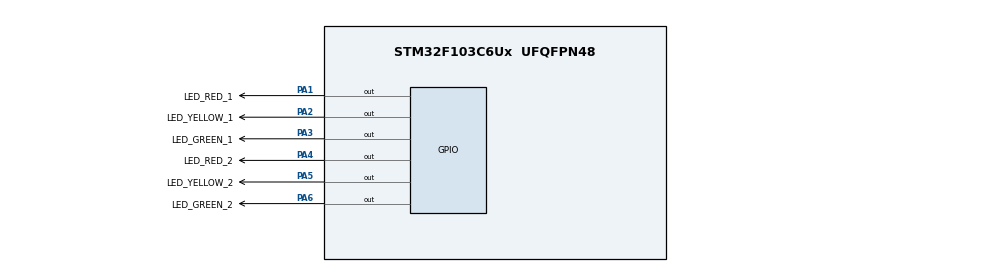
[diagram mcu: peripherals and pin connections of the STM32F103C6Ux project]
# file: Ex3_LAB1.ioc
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Mcu.Family=STM32F1
Mcu.Name=STM32F103C6Ux
Mcu.Package=UFQFPN48
NVIC.PriorityGroup=NVIC_PRIORITYGROUP_4
PA1.GPIO_Label=LED_RED_1
PA1.Signal=GPIO_Output
PA2.GPIO_Label=LED_YELLOW_1
PA2.Signal=GPIO_Output
PA3.GPIO_Label=LED_GREEN_1
PA3.Signal=GPIO_Output
PA4.GPIO_Label=LED_RED_2
PA4.Signal=GPIO_Output
PA5.GPIO_Label=LED_YELLOW_2
PA5.Signal=GPIO_Output
PA6.GPIO_Label=LED_GREEN_2
PA6.Signal=GPIO_Output
ProjectManager.HeapSize=0x200
ProjectManager.StackSize=0x400
ProjectManager.TargetToolchain=STM32CubeIDE
RCC.APB1Freq_Value=8000000
RCC.APB2Freq_Value=8000000
VP_SYS_VS_ND.Mode=No_Debug
board=custom

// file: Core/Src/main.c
/* USER CODE BEGIN Header */
/**
  ******************************************************************************
  * @file           : main.c
  * @brief          : Main program body
  ******************************************************************************
  * @attention
  *
  * <h2><center>&copy; Copyright (c) 2022 STMicroelectronics.
  * All rights reserved.</center></h2>
  *
  * This software component is licensed by ST under BSD 3-Clause license,
  * the "License"; You may not use this file except in compliance with the
  * License. You may obtain a copy of the License at:
  *                        opensource.org/licenses/BSD-3-Clause
  *
  ******************************************************************************
  */
/* USER CODE END Header */
#include "main.h"

/* USER CODE BEGIN PD */
#define setCounterRed 5
#define setCounterGreen 3
#define setCounterYellow 2
#define threshold 0
/* USER CODE END PD */

void SystemClock_Config(void);
static void MX_GPIO_Init(void);

/* USER CODE BEGIN 0 */
void enableRed1 (void){
	HAL_GPIO_WritePin(LED_RED_1_GPIO_Port, LED_RED_1_Pin, GPIO_PIN_RESET);
	HAL_GPIO_WritePin(LED_YELLOW_1_GPIO_Port, LED_YELLOW_1_Pin, GPIO_PIN_SET);
	HAL_GPIO_WritePin(LED_GREEN_1_GPIO_Port, LED_GREEN_1_Pin, GPIO_PIN_SET);
}

void enableYellow1 (void){
	HAL_GPIO_WritePin(LED_RED_1_GPIO_Port, LED_RED_1_Pin, GPIO_PIN_SET);
	HAL_GPIO_WritePin(LED_YELLOW_1_GPIO_Port, LED_YELLOW_1_Pin, GPIO_PIN_RESET);
	HAL_GPIO_WritePin(LED_GREEN_1_GPIO_Port, LED_GREEN_1_Pin, GPIO_PIN_SET);
}

void enableGreen1 (void){
	HAL_GPIO_WritePin(LED_RED_1_GPIO_Port, LED_RED_1_Pin, GPIO_PIN_SET);
	HAL_GPIO_WritePin(LED_YELLOW_1_GPIO_Port, LED_YELLOW_1_Pin, GPIO_PIN_SET);
	HAL_GPIO_WritePin(LED_GREEN_1_GPIO_Port, LED_GREEN_1_Pin, GPIO_PIN_RESET);
}

void enableRed2 (void){
	HAL_GPIO_WritePin(LED_RED_2_GPIO_Port, LED_RED_2_Pin, GPIO_PIN_RESET);
	HAL_GPIO_WritePin(LED_YELLOW_2_GPIO_Port, LED_YELLOW_2_Pin, GPIO_PIN_SET);
	HAL_GPIO_WritePin(LED_GREEN_2_GPIO_Port, LED_GREEN_2_Pin, GPIO_PIN_SET);
}

void enableYellow2 (void){
	HAL_GPIO_WritePin(LED_RED_2_GPIO_Port, LED_RED_2_Pin, GPIO_PIN_SET);
	HAL_GPIO_WritePin(LED_YELLOW_2_GPIO_Port, LED_YELLOW_2_Pin, GPIO_PIN_RESET);
	HAL_GPIO_WritePin(LED_GREEN_2_GPIO_Port, LED_GREEN_2_Pin, GPIO_PIN_SET);
}

void enableGreen2 (void){
	HAL_GPIO_WritePin(LED_RED_2_GPIO_Port, LED_RED_2_Pin, GPIO_PIN_SET);
	HAL_GPIO_WritePin(LED_YELLOW_2_GPIO_Port, LED_YELLOW_2_Pin, GPIO_PIN_SET);
	HAL_GPIO_WritePin(LED_GREEN_2_GPIO_Port, LED_GREEN_2_Pin, GPIO_PIN_RESET);
}

int enableTerm_Green2 (int value){
	if (value >= setCounterGreen) return 1;
	return 0;
}

int enableTerm_Yellow2 (int value){
	if (value <= setCounterYellow) return 1;
	return 0;
}
/* USER CODE END 0 */

int main(void)
{

  /* MCU Configuration--------------------------------------------------------*/

  /* Reset of all peripherals, Initializes the Flash interface and the Systick. */
  HAL_Init();

  /* Configure the system clock */
  SystemClock_Config();

  /* Initialize all configured peripherals */
  MX_GPIO_Init();

  /* Infinite loop */
  /* USER CODE BEGIN WHILE */
  enum displayState {state0, state1, state2};
  enum displayState status = state0;

  // For West-East Direction:
  // status = 0 -> Red1:on, Yellow1: off, Green1: off
  // status = 1 -> Red1:off, Yellow1: off, Green1: on
  // status = 2 -> Red1:off, Yellow1: on, Green1: off

  // For North-South Direction:
  // status = 0 -> Red2:off, Green2: on(3s) -> Yellow2: on(2s),
  // status = 1 -> Red2:on, Yellow2: off, Green2: off
  // status = 2 -> Red2:on, Yellow2: off, Green2: off

  static int counterRED = setCounterRed;
  static int counterYellow = setCounterYellow;
  static int counterGreen = setCounterGreen;

  while (1)
  {
	switch (status){
		case state0:
			{
				//West-East Direction
				enableRed1();

				if (enableTerm_Green2(counterRED)==1){
					//North-South Direction
					enableGreen2();
				}
				if (enableTerm_Yellow2(counterRED)==1){
					//North-South Direction
					enableYellow2();
				}

				counterRED--;
				if (counterRED == threshold){
					counterRED = setCounterRed;
					status = state1;
				}
			}
			break;

		case state1:
			{
				//West-East Direction
				enableGreen1();

				//North-South Direction
				enableRed2();

				counterGreen--;
				if (counterGreen == threshold){
					counterGreen = setCounterGreen;
					status = state2;
				}
			}
			break;

		case state2:
			{
				//West-East Direction
				enableYellow1();

				//North-South Direction
				enableRed2();

				counterYellow--;
				if (counterYellow == threshold){
					counterYellow = setCounterYellow;
					status = state0;
				}
			}
			break;
	}

	HAL_Delay(1000);

	/* USER CODE END WHILE */

  }
}

void SystemClock_Config(void)
{
  RCC_OscInitTypeDef RCC_OscInitStruct = {0};
  RCC_ClkInitTypeDef RCC_ClkInitStruct = {0};

  /** Initializes the RCC Oscillators according to the specified parameters
  * in the RCC_OscInitTypeDef structure.
  */
  RCC_OscInitStruct.OscillatorType = RCC_OSCILLATORTYPE_HSI;
  RCC_OscInitStruct.HSIState = RCC_HSI_ON;
  RCC_OscInitStruct.HSICalibrationValue = RCC_HSICALIBRATION_DEFAULT;
  RCC_OscInitStruct.PLL.PLLState = RCC_PLL_NONE;
  if (HAL_RCC_OscConfig(&RCC_OscInitStruct) != HAL_OK)
  {
    Error_Handler();
  }
  /** Initializes the CPU, AHB and APB buses clocks
  */
  RCC_ClkInitStruct.ClockType = RCC_CLOCKTYPE_HCLK|RCC_CLOCKTYPE_SYSCLK
                              |RCC_CLOCKTYPE_PCLK1|RCC_CLOCKTYPE_PCLK2;
  RCC_ClkInitStruct.SYSCLKSource = RCC_SYSCLKSOURCE_HSI;
  RCC_ClkInitStruct.AHBCLKDivider = RCC_SYSCLK_DIV1;
  RCC_ClkInitStruct.APB1CLKDivider = RCC_HCLK_DIV1;
  RCC_ClkInitStruct.APB2CLKDivider = RCC_HCLK_DIV1;

  if (HAL_RCC_ClockConfig(&RCC_ClkInitStruct, FLASH_LATENCY_0) != HAL_OK)
  {
    Error_Handler();
  }
}

static void MX_GPIO_Init(void)
{
  GPIO_InitTypeDef GPIO_InitStruct = {0};

  /* GPIO Ports Clock Enable */
  __HAL_RCC_GPIOA_CLK_ENABLE();

  /*Configure GPIO pin Output Level */
  HAL_GPIO_WritePin(GPIOA, LED_RED_1_Pin|LED_YELLOW_1_Pin|LED_GREEN_1_Pin|LED_RED_2_Pin
                          |LED_YELLOW_2_Pin|LED_GREEN_2_Pin, GPIO_PIN_RESET);

  /*Configure GPIO pins : LED_RED_1_Pin LED_YELLOW_1_Pin LED_GREEN_1_Pin LED_RED_2_Pin
                           LED_YELLOW_2_Pin LED_GREEN_2_Pin */
  GPIO_InitStruct.Pin = LED_RED_1_Pin|LED_YELLOW_1_Pin|LED_GREEN_1_Pin|LED_RED_2_Pin
                          |LED_YELLOW_2_Pin|LED_GREEN_2_Pin;
  GPIO_InitStruct.Mode = GPIO_MODE_OUTPUT_PP;
  GPIO_InitStruct.Pull = GPIO_NOPULL;
  GPIO_InitStruct.Speed = GPIO_SPEED_FREQ_LOW;
  HAL_GPIO_Init(GPIOA, &GPIO_InitStruct);

}

void Error_Handler(void)
{
  __disable_irq();
  while (1)
  {
  }
}

/************************ (C) COPYRIGHT STMicroelectronics *****END OF FILE****/
